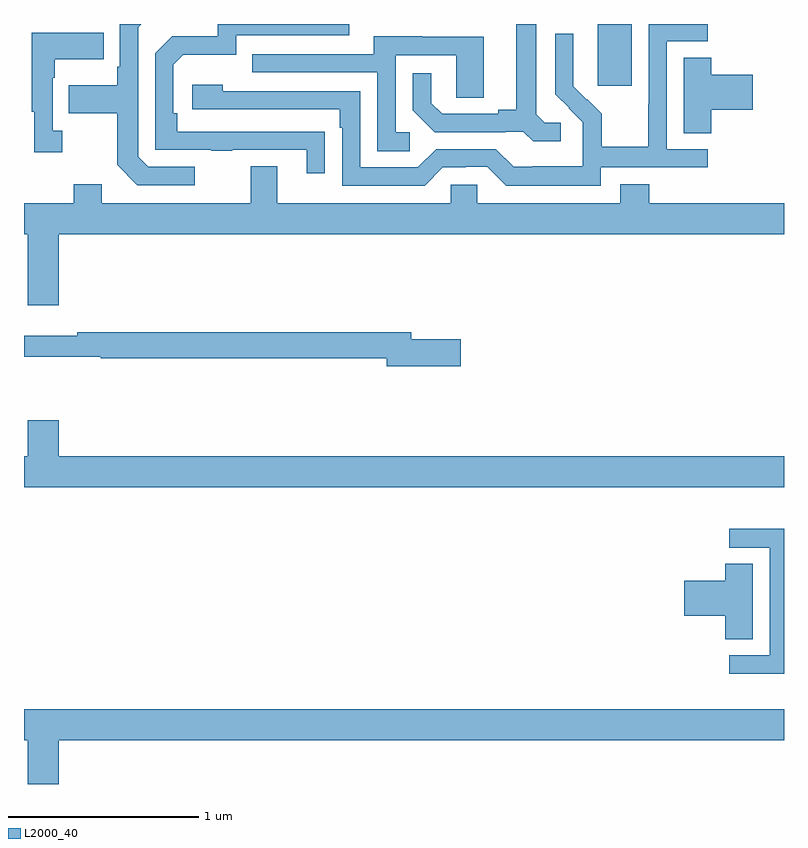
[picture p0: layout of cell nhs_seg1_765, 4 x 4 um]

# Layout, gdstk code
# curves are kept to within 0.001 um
import gdstk
lib = gdstk.Library(unit=1e-6, precision=1e-09)
def R(c, l, rs):  # rectangles x0, y0, x1, y1
    for r in rs: c.add(gdstk.rectangle(r[:2], r[2:], *l))
def P(c, l, *ps):  # polygons
    for p in ps: c.add(gdstk.Polygon(p, *l))
L2000_40 = (2000, 40)

nhs_seg1_765 = lib.new_cell('nhs_seg1_765')
R(nhs_seg1_765, L2000_40, [(156.02,525.873,156.199,526.199)])
P(nhs_seg1_765, L2000_40, [(154.583,525.632),(153.806,525.633),(153.806,525.73),(153.786,525.73),(153.786,525.984),(153.839,526.037),(154.116,526.037),(154.116,526.14),(154.711,526.14),(154.711,526.199),(154.02,526.199),(154.02,526.134),(153.78,526.134),(153.69,526.044),(153.69,525.537),(153.985,525.537),(153.985,525.532),(154.097,525.532),(154.097,525.537),(154.487,525.537),(154.487,525.414),(154.583,525.414)],
  [(156.036,525.444),(156.598,525.444),(156.598,525.54),(156.384,525.54),(156.384,526.107),(156.598,526.107),(156.598,526.199),(156.288,526.199),(156.288,525.776),(156.286,525.776),(156.286,525.553),(156.041,525.553),(156.041,525.727),(155.964,525.804),(155.961,525.801),(155.891,525.872),(155.892,526.148),(155.796,526.148),(155.796,525.83),(155.942,525.682),(155.942,525.585),(155.94,525.585),(155.94,525.451),(155.677,525.451),(155.677,525.447),(155.577,525.447),(155.484,525.54),(155.169,525.54),(155.073,525.444),(154.77,525.444),(154.77,525.846),(154.046,525.846),(154.046,525.88),(153.885,525.88),(153.885,525.75),(154.661,525.75),(154.661,525.653),(154.674,525.653),(154.674,525.348),(155.109,525.348),(155.205,525.444),(155.324,525.444),(155.324,525.447),(155.439,525.447),(155.539,525.347),(156.036,525.347)],
  [(155.824,525.678),(155.742,525.678),(155.695,525.725),(155.695,526.199),(155.591,526.199),(155.591,525.749),(155.495,525.749),(155.495,525.726),(155.2,525.726),(155.143,525.783),(155.143,525.94),(155.046,525.94),(155.046,525.746),(155.162,525.63),(155.534,525.63),(155.534,525.633),(155.628,525.633),(155.68,525.581),(155.824,525.581)],
  [(153.898,525.447),(153.654,525.447),(153.6,525.501),(153.6,526.182),(153.617,526.199),(153.504,526.199),(153.504,525.973),(153.492,525.973),(153.492,525.877),(153.235,525.877),(153.235,525.73),(153.492,525.73),(153.492,525.457),(153.597,525.351),(153.898,525.351)],
  [(153.202,525.638),(153.15,525.638),(153.15,525.917),(153.163,525.917),(153.163,526.013),(153.419,526.013),(153.419,526.153),(153.042,526.153),(153.042,525.737),(153.053,525.737),(153.053,525.525),(153.202,525.525)],
  [(155.029,525.63),(154.956,525.63),(154.956,526.035),(155.274,526.035),(155.274,525.811),(155.419,525.811),(155.419,526.131),(155.095,526.131),(155.095,526.135),(154.841,526.135),(154.841,526.041),(154.201,526.041),(154.201,525.945),(154.86,525.945),(154.86,525.529),(155.029,525.529)],
  [(156.617,525.749),(156.835,525.749),(156.835,525.932),(156.617,525.932),(156.617,526.022),(156.473,526.022),(156.473,525.625),(156.617,525.625)],
  [(153.184,525.092),(157,525.092),(157,525.256),(156.29,525.256),(156.29,525.355),(156.137,525.355),(156.137,525.256),(155.385,525.256),(155.385,525.354),(155.247,525.354),(155.247,525.256),(154.333,525.256),(154.333,525.451),(154.193,525.451),(154.193,525.256),(153.409,525.256),(153.409,525.355),(153.262,525.355),(153.262,525.256),(153,525.256),(153,525.092),(153.02,525.092),(153.02,524.718),(153.184,524.718)],
  [(155.299,524.54),(155.038,524.54),(155.038,524.576),(153.28,524.576),(153.28,524.557),(153,524.557),(153,524.448),(153.404,524.448),(153.404,524.44),(154.91,524.44),(154.91,524.398),(155.299,524.398)],
  [(157,523.924),(153.184,523.924),(153.184,524.113),(153.02,524.113),(153.02,523.924),(153,523.924),(153,523.76),(157,523.76)],
  [(157,523.542),(156.711,523.542),(156.711,523.443),(156.924,523.443),(156.924,522.876),(156.711,522.876),(156.711,522.78),(157,522.78)],
  [(156.835,523.358),(156.692,523.358),(156.692,523.268),(156.474,523.268),(156.474,523.085),(156.692,523.085),(156.692,522.961),(156.835,522.961)],
  [(153.184,522.428),(157,522.428),(157,522.592),(153,522.592),(153,522.428),(153.02,522.428),(153.02,522.199),(153.184,522.199)])

lib.write_gds('nhs_seg1_765.gds')
